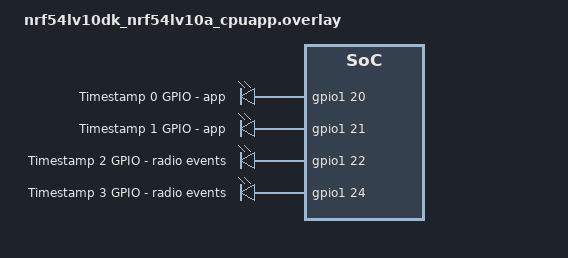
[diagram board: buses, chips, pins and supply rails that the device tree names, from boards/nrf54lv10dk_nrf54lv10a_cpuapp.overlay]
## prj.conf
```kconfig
#
# Copyright (c) 2019 Nordic Semiconductor ASA
#
# SPDX-License-Identifier: LicenseRef-Nordic-5-Clause
#
CONFIG_NCS_SAMPLES_DEFAULTS=n

CONFIG_BT=y

# CONFIG_LOG=y
CONFIG_LOG=n
CONFIG_CONSOLE=n
CONFIG_UART_CONSOLE=n
CONFIG_SERIAL=n
CONFIG_PRINTK=n

# Enable MPSL pin debug to toggle GPIOs upon radio events
CONFIG_MPSL_PIN_DEBUG=y
# Use GPIO P1.22 and P1.24 (timestamp2 and timestamp3) for radio events
CONFIG_MPSL_PIN_DEBUG_RADIO_READY_AND_DISABLED_PIN=54
CONFIG_MPSL_PIN_DEBUG_RADIO_ADDRESS_AND_END_PIN=56

CONFIG_USE_DT_CODE_PARTITION=y

CONFIG_MPU_ALLOW_FLASH_WRITE=y
CONFIG_FLASH=y
CONFIG_FLASH_MAP=y
CONFIG_FLASH_PAGE_LAYOUT=y

CONFIG_ZMS=y
```

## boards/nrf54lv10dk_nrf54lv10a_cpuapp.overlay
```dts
/*
 * Copyright (c) 2025 Nordic Semiconductor ASA
 *
 * SPDX-License-Identifier: LicenseRef-Nordic-5-Clause
 */

/ {
	chosen {
		zephyr,code-partition = &app_code_partition;
	};

	timestamps {
		compatible = "gpio-leds";
		timestamp0: timestamp_0 {
			gpios = < &gpio1 20 GPIO_ACTIVE_HIGH >;
			label = "Timestamp 0 GPIO - app";
		};

		timestamp1: timestamp_1 {
			gpios = < &gpio1 21 GPIO_ACTIVE_HIGH >;
			label = "Timestamp 1 GPIO - app";
		};

		timestamp2: timestamp_2 {
			gpios = < &gpio1 22 GPIO_ACTIVE_HIGH >;
			label = "Timestamp 2 GPIO - radio events";
		};

		timestamp3: timestamp_3 {
			gpios = < &gpio1 24 GPIO_ACTIVE_HIGH >;
			label = "Timestamp 3 GPIO - radio events";
		};
	};

	aliases {
		timestamp0 = &timestamp0;
		timestamp1 = &timestamp1;
		timestamp2 = &timestamp2;
		timestamp3 = &timestamp3;
	};
};

&cpuapp_rram {
	/delete-node/ partitions;

	partitions {
		compatible = "fixed-partitions";
		#address-cells = <1>;
		#size-cells = <1>;

		app_code_partition: partition@0 {
			label = "code";
			reg = <0x0 DT_SIZE_K(892)>;
		};

		raw_flash_partition: partition@df000 {
			label = "raw_flash";
			reg = <0xdf000 DT_SIZE_K(20)>;
		};

		raw_zms_partition: partition@e4000 {
			label = "raw_zms";
			reg = <0xe4000 DT_SIZE_K(20)>;
		};

	};
};
```

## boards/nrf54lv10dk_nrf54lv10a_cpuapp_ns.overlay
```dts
/*
 * Copyright (c) 2025 Nordic Semiconductor ASA
 *
 * SPDX-License-Identifier: LicenseRef-Nordic-5-Clause
 */

#include "nrf54lv10dk_nrf54lv10a_cpuapp.overlay"
```

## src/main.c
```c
/*
 * Copyright (c) 2025 Nordic Semiconductor ASA
 *
 * SPDX-License-Identifier: LicenseRef-Nordic-5-Clause
 */

#include <zephyr/types.h>
#include <stddef.h>
#include <zephyr/sys/printk.h>
#include <zephyr/sys/util.h>

#include <zephyr/drivers/gpio.h>

#include <zephyr/bluetooth/bluetooth.h>
#include <zephyr/bluetooth/hci.h>

#ifndef IBEACON_RSSI
#define IBEACON_RSSI 0xc8
#endif

#include <zephyr/storage/flash_map.h>

/*
 * Set iBeacon demo advertisement data. These values are for
 * demonstration only and must be changed for production environments!
 *
 * UUID:  18ee1516-016b-4bec-ad96-bcb96d166e97
 * Major: 0
 * Minor: 0
 * RSSI:  -56 dBm
 */
static const struct bt_data ad[] = {
	BT_DATA_BYTES(BT_DATA_FLAGS, BT_LE_AD_NO_BREDR),
	BT_DATA_BYTES(BT_DATA_MANUFACTURER_DATA,
		      0x4c, 0x00, /* Apple */
		      0x02, 0x15, /* iBeacon */
		      0x18, 0xee, 0x15, 0x16, /* UUID[15..12] */
		      0x01, 0x6b, /* UUID[11..10] */
		      0x4b, 0xec, /* UUID[9..8] */
		      0xad, 0x96, /* UUID[7..6] */
		      0xbc, 0xb9, 0x6d, 0x16, 0x6e, 0x97, /* UUID[5..0] */
		      0x00, 0x00, /* Major */
		      0x00, 0x00, /* Minor */
		      IBEACON_RSSI) /* Calibrated RSSI @ 1m */
};

/* Timestamp GPIO */

static uint64_t uptime_us(void)
{
	uint64_t cycles = k_cycle_get_64();
	return (uint64_t)k_cyc_to_us_near64(cycles);
}

static const struct gpio_dt_spec timestamp0 = GPIO_DT_SPEC_GET(DT_ALIAS(timestamp0), gpios);
static const struct gpio_dt_spec timestamp1 = GPIO_DT_SPEC_GET(DT_ALIAS(timestamp1), gpios);

static int timestamp_init_gpio(const struct gpio_dt_spec *gpio) {
	int ret;

	if (!device_is_ready(gpio->port)) {
		printk("Cannot initialize \"%s\"!\n", gpio->port->name);
		return -ENODEV;
	}

	ret = gpio_pin_configure_dt(gpio, GPIO_OUTPUT_ACTIVE);
	if (ret != 0) {
		printk("Cannot initialize timestamp GPIO \"%s\" (ret %d)!\n", gpio->port->name, ret);
		return ret;
	}

	ret = gpio_pin_set_dt(gpio, 0);
	if (ret != 0) {
		printk("Cannot set timestamp GPIO \"%s\" (ret %d)!\n", gpio->port->name, ret);
		return ret;
	}

	return 0;
}

static int timestamp_init(void)
{
	int ret;

	ret = timestamp_init_gpio(&timestamp0);
	if (ret != 0) {
		printk("Cannot initialize timestamp0 GPIO %d!\n", ret);
		return ret;
	}

	ret = timestamp_init_gpio(&timestamp1);
	if (ret != 0) {
		printk("Cannot initialize timestamp1 GPIO %d!\n", ret);
		return ret;
	}

	return 0;
}

static void timestamp_set_gpio(const struct gpio_dt_spec *gpio, bool set)
{
	int ret = gpio_pin_set_dt(gpio, set ? 1 : 0);
	if (ret != 0) {
		printk("Cannot set timestamp GPIO \"%s\" (ret %d)!\n", gpio->port->name, ret);
	}
}

static void timestamp0_set(bool set)
{
	static uint64_t timestamp;

	if (set) {
		timestamp = uptime_us();
		timestamp_set_gpio(&timestamp0, true);
	} else {
		timestamp_set_gpio(&timestamp0, false);
		printk("Timestamp0: %lld\n", (uptime_us() - timestamp));
		timestamp = 0;
	}
}

static void timestamp1_set(bool set)
{
	static uint64_t timestamp;

	if (set) {
		timestamp = uptime_us();
		timestamp_set_gpio(&timestamp1, true);
	} else {
		timestamp_set_gpio(&timestamp1, false);
		printk("Timestamp1: %lld\n", (uptime_us() - timestamp));
		timestamp = 0;
	}
}

void busy_cpu_math(void)
{
	static float a = 1.01f;
	static float b = 1.001f;
	static float c = 0.0f;

	// Heavy floating-point workload
	for (int i = 0; i < 100000; i++) {
		c += a * b;
		if (c > 10000.0f) {
			c = 0.0f;
		}
	}
}

static void busy_thread_entry(void *p1, void *p2, void *p3)
{
	printk("Busy thread started\n");

	while (1) {
		printk("==> Busy work start\n");
		timestamp0_set(true);

		/* SIMULATE CPU LOAD */
		busy_cpu_math();

		timestamp0_set(false);
		printk("<== Busy work end\n");

		////////////////////////////////////////

		printk("==> Sleeping\n");
		timestamp1_set(true);

		k_msleep(2000);
		// k_yield();

		timestamp1_set(false);
		printk("<== Sleeping done\n");
	}

	// while (1) {
	// 	k_msleep(1000);
	// }
}


/* Raw flash using flash area API */
#define RAW_FLASH_PARTITION_ID DT_FIXED_PARTITION_ID(DT_NODELABEL(raw_flash_partition))

static int write_flash_area(const uint8_t *data, size_t len)
{
	const struct flash_area *fa;
	int err;

	err = flash_area_open(RAW_FLASH_PARTITION_ID, &fa);
	if (err) {
		printk("Unable to open flash area: %d\n", err);
		return err;
	}

	/* Optional: Erase before write if required by use-case
	 * Here we assume user manages erasure as needed.
	 */

	err = flash_area_write(fa, 0, data, len);
	if (err) {
		printk("Failed to write flash area: %d\n", err);
		flash_area_close(fa);
		return err;
	}

	flash_area_close(fa);
	return 0;
}

static int read_flash_area(uint8_t *data, size_t len)
{
	const struct flash_area *fa;
	int err;

	err = flash_area_open(RAW_FLASH_PARTITION_ID, &fa);
	if (err) {
		printk("Unable to open flash area: %d\n", err);
		return err;
	}

	err = flash_area_read(fa, 0, data, len);
	if (err) {
		printk("Failed to read flash area: %d\n", err);
		flash_area_close(fa);
		return err;
	}

	flash_area_close(fa);
	return 0;
}

static int erase_flash_area(int flash_area_id, size_t size)
{
	const struct flash_area *fa;
	int err;

	err = flash_area_open(flash_area_id, &fa);
	if (err) {
		printk("Unable to open flash area for erase: %d\n", err);
		return err;
	}

	err = flash_area_erase(fa, 0, size);
	if (err) {
		printk("Failed to erase flash area: %d\n", err);
		flash_area_close(fa);
		return err;
	}

	flash_area_close(fa);
	return 0;
}


#define FLASH_BUF_SIZE 10240

static uint8_t flash_buf[FLASH_BUF_SIZE];
static uint8_t verify_buf[FLASH_BUF_SIZE];

static void fill_flash_buf(void)
{
	for (size_t i = 0; i < FLASH_BUF_SIZE; i++) {
		flash_buf[i] = i;
	}
}

static void busy_rram(void)
{
	printk("Erasing flash area\n");
	erase_flash_area(RAW_FLASH_PARTITION_ID, FLASH_BUF_SIZE);

	k_msleep(500);

	printk("Writing flash area\n");
	timestamp0_set(true);

	write_flash_area(flash_buf, FLASH_BUF_SIZE);

	timestamp0_set(false);
	k_msleep(500);

	memset(verify_buf, 0, FLASH_BUF_SIZE);
	printk("Reading flash area\n");
	read_flash_area(verify_buf, FLASH_BUF_SIZE);

	printk("Verifying flash area\n");
	if (memcmp(flash_buf, verify_buf, FLASH_BUF_SIZE)) {
		printk("Flash area read not match\n");
	} else {
		printk("Flash area read match\n");
	}
}

static void busy_rram_thread_entry(void *p1, void *p2, void *p3)
{
	printk("Busy RRAM thread started\n");

	printk("Filling flash buffer\n");
	fill_flash_buf();

	while (1) {
		printk("==> Busy RRAM work start\n");

		busy_rram();

		printk("<== Busy RRAM work end\n");

		////////////////////////////////////////

		printk("==> Sleeping\n");
		timestamp1_set(true);

		k_msleep(2000);
		// k_yield();

		timestamp1_set(false);
		printk("<== Sleeping done\n");
	}

	// while (1) {
	// 	k_msleep(1000);
	// }
}

static k_tid_t busy_thread_id;
static K_THREAD_STACK_DEFINE(busy_thread_stack, 1024);
static struct k_thread busy_thread;

static void bt_ready(int err)
{
	if (err) {
		printk("Bluetooth init failed (err %d)\n", err);
		return;
	}

	printk("Bluetooth initialized\n");

	/* Start advertising */
	err = bt_le_adv_start(BT_LE_ADV_PARAM(0,
					      0x0050, // 50 ms
					      0x0050, // 50 ms
					      NULL),
			      ad, ARRAY_SIZE(ad),
			      NULL, 0);
	if (err) {
		printk("Advertising failed to start (err %d)\n", err);
		return;
	}

	printk("iBeacon started\n");

	/* Start CPU load thread */
	k_thread_create(&busy_thread,
		busy_thread_stack,
		1024,
		// busy_thread_entry,
		busy_rram_thread_entry,
		NULL, NULL, NULL,
		K_PRIO_PREEMPT(5), 0, K_NO_WAIT);
}

int main(void)
{
	int err;

	err = timestamp_init();
	if (err) {
		printk("timestamp_init failed (err %d)\n", err);
		return err;
	}

	printk("Starting iBeacon Demo\n");

	/* Initialize the Bluetooth Subsystem */
	err = bt_enable(bt_ready);
	if (err) {
		printk("Bluetooth init failed (err %d)\n", err);
	}
	return 0;
}
```
